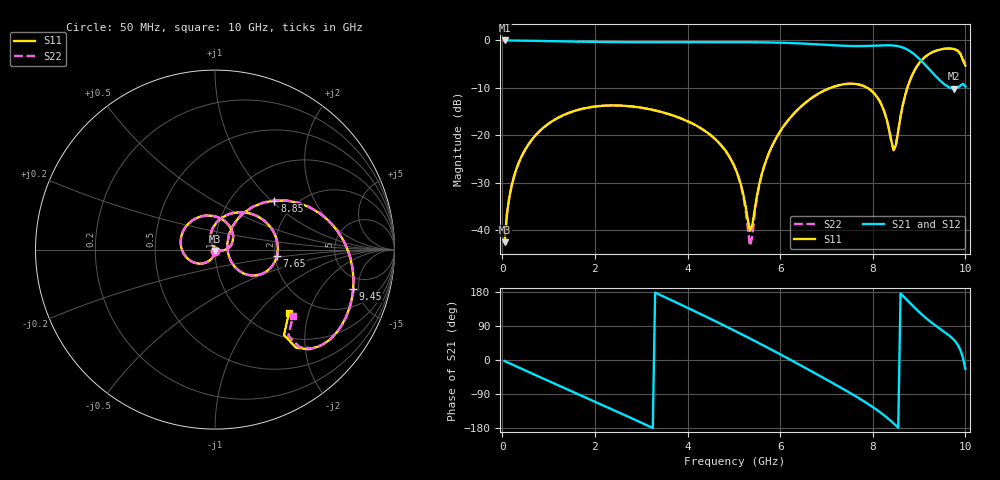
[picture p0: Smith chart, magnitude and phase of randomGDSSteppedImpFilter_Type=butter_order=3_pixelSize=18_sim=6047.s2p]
! freq	dB(S11)	phase(S11)	dB(S12)	phase(S12)
!  dB(S21)	phase(S21)	dB(S22)	phase(S22)
!S-par simulation data
#  GHz  S  DB  R 50
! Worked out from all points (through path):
!   200 points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, 50 MHz to 10 GHz, reference 50 ohm
!   highest |S21| = -0.01 dB at 50 MHz (marker M1); lowest = -10.2 dB at 9.75 GHz (marker M2)
!   group delay of S21, straight-line fit = 184 ps
!   lowest |S11| = -42.5 dB at 50 MHz (marker M3), VSWR 1.02, Z = 50 - j0.75 ohm
!   |S11| at or under -10 dB: start of sweep to 7.086 GHz; 7.884 GHz to 8.747 GHz (863.1 MHz wide, 10.4 % of centre)
!   |S22| runs from -43.3 to -1.7 dB; largest |S21 - S12| = 0
!   S11 on the Smith chart (normalised r, x): 50 MHz: 1.00, -0.01; 7.65 GHz: 2.04, -0.16; 8.85 GHz: 1.56, +1.05; 9.45 GHz: 3.55, -4.34; 10 GHz: 1.50, -1.50
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0.05  -42.50 -91.1  -0.01 -2.8  -0.01 -2.8  -42.50 -91.1
0.2  -30.69 -100.6  -0.02 -11.2  -0.02 -11.2  -30.69 -100.6
0.5  -22.92 -118.1  -0.06 -27.8  -0.06 -27.8  -22.92 -118.2
1.15  -16.59 -154.3  -0.17 -63.6  -0.17 -63.6  -16.59 -154.5
1.75  -14.35 172.9  -0.28 -96.4  -0.28 -96.4  -14.36 172.6
2.65  -13.78 123.7  -0.37 -145.8  -0.37 -145.8  -13.78 123.1
3.4  -14.98 82.1  -0.38 172.2  -0.38 172.2  -14.99 81.2
4.3  -18.57 31.7  -0.37 120.2  -0.37 120.2  -18.59 30.2
5.05  -27.37 -4.7  -0.36 75.2  -0.36 75.2  -27.50 -9.1
5.35  -40.09 45.3  -0.38 56.6  -0.38 56.6  -43.34 41.5
5.55  -30.26 113.4  -0.39 44.0  -0.39 44.0  -30.49 119.2
5.75  -23.90 110.5  -0.42 31.3  -0.42 31.3  -23.95 113.2
6.25  -15.92 83.8  -0.56 -1.3  -0.56 -1.3  -15.92 84.8
6.7  -12.00 55.8  -0.77 -31.3  -0.77 -31.3  -12.00 56.3
7.65  -9.20 -5.8  -1.19 -97.1  -1.19 -97.1  -9.20 -5.6
8.1  -12.02 -35.2  -1.08 -132.7  -1.08 -132.7  -12.01 -35.0
8.35  -18.68 -37.7  -1.02 -156.5  -1.02 -156.5  -18.66 -37.6
8.5  -22.04 29.0  -1.14 -172.8  -1.14 -172.8  -22.06 28.9
8.85  -7.34 39.5  -2.58 144.7  -2.58 144.7  -7.35 39.7
9.45  -1.93 -15.9  -8.42 82.6  -8.42 82.6  -1.93 -15.6
9.75  -1.81 -38.4  -10.15 53.4  -10.15 53.4  -1.79 -37.7
10  -5.31 -40.6  -9.72 -23.6  -9.72 -23.6  -4.87 -40.4
